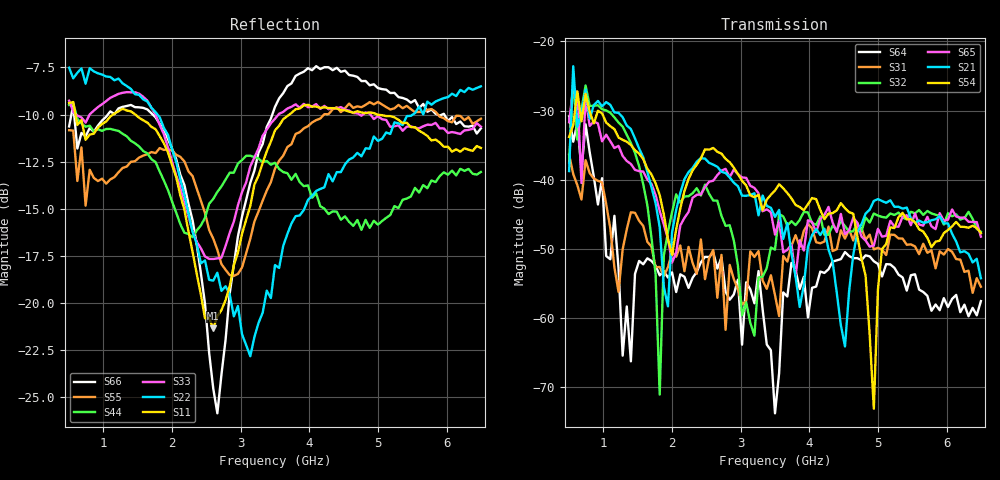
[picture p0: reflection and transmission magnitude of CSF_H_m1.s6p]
!Keysight Technologies,M9804A,MY58100912,A.14.10.03
!Date: Thursday, April 27, 2023 10:28:33
!Correction: S11(C  6-Port  )
!S12(C  6-Port  )
!S13(C  6-Port  )
!S14(C  6-Port  )
!S15(C  6-Port  )
!S16(C  6-Port  )
!S21(C  6-Port  )
!S22(C  6-Port  )
!S23(C  6-Port  )
!S24(C  6-Port  )
!S25(C  6-Port  )
!S26(C  6-Port  )
!S31(C  6-Port  )
!S32(C  6-Port  )
!S33(C  6-Port  )
!S34(C  6-Port  )
!S35(C  6-Port  )
!S36(C  6-Port  )
!S41(C  6-Port  )
!S42(C  6-Port  )
!S43(C  6-Port  )
!S44(C  6-Port  )
!S45(C  6-Port  )
!S46(C  6-Port  )
!S51(C  6-Port  )
!S52(C  6-Port  )
!S53(C  6-Port  )
!S54(C  6-Port  )
!S55(C  6-Port  )
!S56(C  6-Port  )
!S61(C  6-Port  )
!S62(C  6-Port  )
!S63(C  6-Port  )
!S64(C  6-Port  )
!S65(C  6-Port  )
!S66(C  6-Port  )
!S6P File: Measurement: :
# Hz S  RI  R 50
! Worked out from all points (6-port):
!   101 points, 500 MHz to 6.5 GHz, reference 50 ohm
!   strongest paths, dB at 500 MHz, 2 GHz, 3.5 GHz, 5 GHz, 6.5 GHz:
!     S54: -33.8, -50.8, -41.6, -55.8, -47.7
!     S21: -38.7, -47.6, -45.4, -42.8, -54.2
!     S65: -31.7, -52.0, -47.9, -47.1, -48.2
!     S32: -37.6, -44.7, -50.1, -45.2, -47.5
!     S31: -36.4, -50.4, -56.7, -49.8, -55.5
!     S64: -30.8, -53.4, -73.7, -52.2, -57.5
!   lowest |S11| = -21.3 dB at 2.6 GHz (marker M1), VSWR 1.19, Z = 42.4 + j2.29 ohm
!   |S11| at or under -10 dB: 592.7 MHz to 1.141 GHz (548.3 MHz wide, 63.2 % of centre); 1.465 GHz to 3.71 GHz (2.245 GHz wide, 86.8 % of centre); 4.991 GHz to end of sweep
